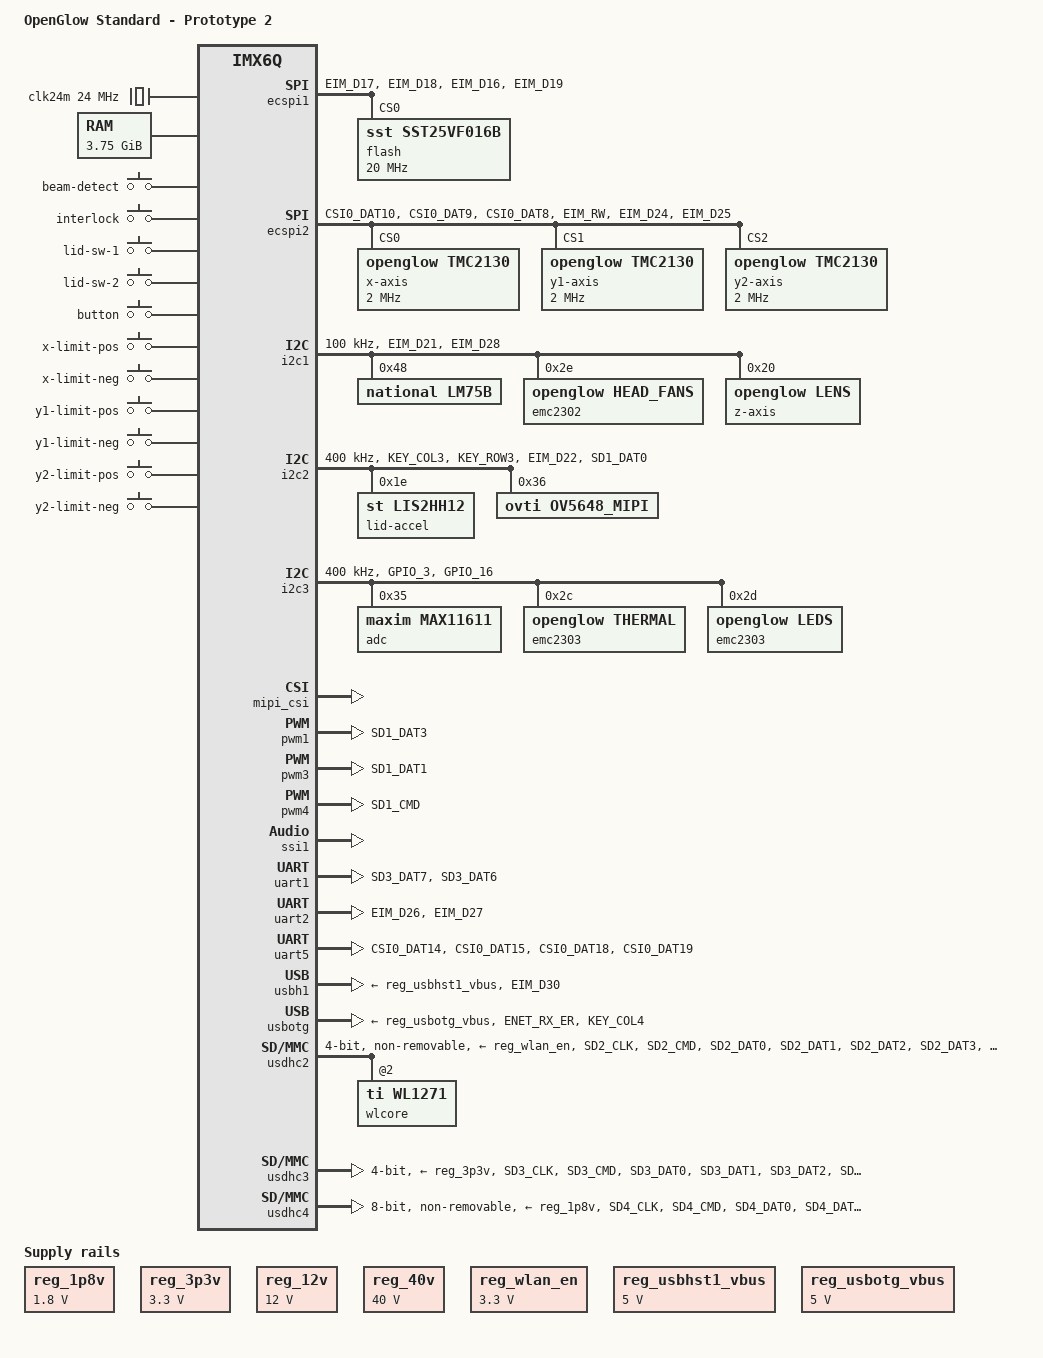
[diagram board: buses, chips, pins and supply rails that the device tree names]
/*
 * Copyright 2018 Scott Wiederhold <s.e.wiederhold@gmail.com>
 * Copyright 2012 Freescale Semiconductor, Inc.
 * Copyright 2011 Linaro Ltd.
 *
 * The code contained herein is licensed under the GNU General Public
 * License. You may obtain a copy of the GNU General Public License
 * Version 2 or later at the following locations:
 *
 * http://www.opensource.org/licenses/gpl-license.html
 * http://www.gnu.org/copyleft/gpl.html
 */

/* PAD Control Definitions
*
* Be sure to check IMX6 DQ Reference Manual to verify each
* PADs actual capability (i.e. GPIO00 - See Ch 36.4.376).
* PAD Operating frequency is dependent on many factors (See Ch 28.4.2.3)
*
* For a better explanation, see Freescale AN5078
* http://cache.freescale.com/files/32bit/doc/app_note/AN5078.pdf
*/
/dts-v1/;

#include <dt-bindings/gpio/gpio.h>
#include <dt-bindings/input/input.h>
#include "imx6q.dtsi"
#include "openglow_common.dtsi"

/ {
	model = "OpenGlow Standard - Prototype 2";
	compatible = "openglow,openglow_std", "fsl,imx6q";
};

&iomuxc {
	pinctrl-names = "default";
	pinctrl-0 = <&pinctrl_hog>;

    openglow_std {
        pinctrl_hog: hog {
            fsl,pins = <
#define TP01_GPIO3_IO20     <&gpio3 20 GPIO_ACTIVE_HIGH>
                MX6QDL_PAD_EIM_D20__GPIO3_IO20     	WEAK_PULLUP
#define TP02_GPIO3_IO05     <&gpio3 5 GPIO_ACTIVE_HIGH>
                MX6QDL_PAD_EIM_DA5__GPIO3_IO05     	WEAK_PULLUP
#define TP03_GPIO3_IO03     <&gpio3 3 GPIO_ACTIVE_HIGH>
                MX6QDL_PAD_EIM_DA3__GPIO3_IO03     	WEAK_PULLUP
#define TP04_GPIO3_IO01     <&gpio3 1 GPIO_ACTIVE_HIGH>
                MX6QDL_PAD_EIM_DA1__GPIO3_IO01     	WEAK_PULLUP
#define TP05_GPIO2_IO25     <&gpio2 25 GPIO_ACTIVE_HIGH>
                MX6QDL_PAD_EIM_OE__GPIO2_IO25      	WEAK_PULLUP
#define TP06_GPIO2_IO04     <&gpio2 4 GPIO_ACTIVE_HIGH>
                MX6QDL_PAD_NANDF_D4__GPIO2_IO04   	WEAK_PULLUP
#define TP07_GPIO3_IO11     <&gpio3 11 GPIO_ACTIVE_HIGH>
                MX6QDL_PAD_EIM_DA11__GPIO3_IO11    	WEAK_PULLUP
#define TP08_GPIO3_IO10     <&gpio3 10 GPIO_ACTIVE_HIGH>
                MX6QDL_PAD_EIM_DA10__GPIO3_IO10    	WEAK_PULLUP
#define TP09_GPIO2_IO07     <&gpio2 7 GPIO_ACTIVE_HIGH>
                MX6QDL_PAD_NANDF_D7__GPIO2_IO07    	WEAK_PULLUP
#define TP10_GPIO3_IO09     <&gpio3 9 GPIO_ACTIVE_HIGH>
                MX6QDL_PAD_EIM_DA9__GPIO3_IO09     	WEAK_PULLUP
#define TP11_GPIO5_IO23     <&gpio5 23 GPIO_ACTIVE_HIGH>
                MX6QDL_PAD_CSI0_DAT5__GPIO5_IO23    WEAK_PULLUP
            >;
        };

        pinctrl_bt_rfkill: bt-rfkillgrp {
            fsl,pins = <
#define BT_EN               <&gpio5 19 GPIO_ACTIVE_LOW>
                MX6QDL_PAD_CSI0_MCLK__GPIO5_IO19    WEAK_PULLUP
            >;
        };

        /* SOM on-board Serial Flash */
        pinctrl_ecspi1: ecspi1grp {
            fsl,pins = <
                MX6QDL_PAD_EIM_D17__ECSPI1_MISO     SPI_PAD_CTRL
                MX6QDL_PAD_EIM_D18__ECSPI1_MOSI     SPI_PAD_CTRL
                MX6QDL_PAD_EIM_D16__ECSPI1_SCLK     SPI_PAD_CTRL
#define ECSPI1_CS           <&gpio3 19 GPIO_ACTIVE_LOW>
                MX6QDL_PAD_EIM_D19__GPIO3_IO19      NO_PAD_CTRL
            >;
        };

        /* Stepper Drivers SPI Bus */
        pinctrl_ecspi2: ecspi2grp {
            fsl,pins = <
                MX6QDL_PAD_CSI0_DAT10__ECSPI2_MISO  SPI_PAD_CTRL
                MX6QDL_PAD_CSI0_DAT9__ECSPI2_MOSI   SPI_PAD_CTRL
                MX6QDL_PAD_CSI0_DAT8__ECSPI2_SCLK   SPI_PAD_CTRL
#define ESPI2_SS0           <&gpio2 26 GPIO_ACTIVE_LOW> /* X-Stepper */
                MX6QDL_PAD_EIM_RW__GPIO2_IO26       WEAK_PULLUP
#define ESPI2_SS2           <&gpio3 24 GPIO_ACTIVE_LOW> /* Y1-Stepper */
                MX6QDL_PAD_EIM_D24__GPIO3_IO24      WEAK_PULLUP
#define ESPI2_SS3           <&gpio3 25 GPIO_ACTIVE_LOW> /* Y2-Stepper */
                MX6QDL_PAD_EIM_D25__GPIO3_IO25      WEAK_PULLUP
            >;
        };

        /* GPIO - Aux I/O */
        pinctrl_gpio_aux: gpio-auxgrp {
            fsl,pins = <
#define AUXIO_7             <&gpio1 9 GPIO_ACTIVE_HIGH>  /* AUX_IO07 */
                MX6QDL_PAD_GPIO_9__GPIO1_IO09  		WEAK_PULLUP
#define AUXIO_8             <&gpio7 13 GPIO_ACTIVE_HIGH>  /* AUX_IO08 */
                MX6QDL_PAD_GPIO_18__GPIO7_IO13  	WEAK_PULLUP
            >;
        };

		/* GPIO - Limit I/O */
        pinctrl_limit_aux: gpio-limitgrp {
            fsl,pins = <
#define AUXIO_1             <&gpio4 11 GPIO_ACTIVE_HIGH> /* AUX_IO01 X-Axis POS Limit */
                MX6QDL_PAD_KEY_ROW2__GPIO4_IO11    	WEAK_PULLUP
#define AUXIO_2             <&gpio3 12 GPIO_ACTIVE_HIGH> /* AUX_IO02 X-Axis NEG Limit */
                MX6QDL_PAD_EIM_DA12__GPIO3_IO12    	WEAK_PULLUP
#define AUXIO_3             <&gpio1 1 GPIO_ACTIVE_HIGH> /* AUX_IO03  Y1-Axis POS Limit */
                MX6QDL_PAD_GPIO_1__GPIO1_IO01      	WEAK_PULLUP
#define AUXIO_4             <&gpio5 24 GPIO_ACTIVE_HIGH> /* AUX_IO04 Y1-Axis NEG Limit */
                MX6QDL_PAD_CSI0_DAT6__GPIO5_IO24   	WEAK_PULLUP
#define AUXIO_5             <&gpio5 25 GPIO_ACTIVE_HIGH> /* AUX_IO05 Y2-Axis POS Limit */
                MX6QDL_PAD_CSI0_DAT7__GPIO5_IO25   	WEAK_PULLUP
#define AUXIO_6             <&gpio5 29 GPIO_ACTIVE_HIGH> /* AUX_IO06 Y2-Axis NEG Limit */
                MX6QDL_PAD_CSI0_DAT11__GPIO5_IO29  	WEAK_PULLUP
            >;
        };
        /* OPENGLOW - CNC */
        pinctrl_cnc: gpio-cncgrp {
            fsl,pins = <
#define BEAM_DET_EN     <&gpio7 0 GPIO_ACTIVE_HIGH>  /* LASER ON HEAD NOTIFICATION - OUT */
                MX6QDL_PAD_SD3_DAT5__GPIO7_IO00     WEAK_PULLUP
#define FIRE            <&gpio7 12 GPIO_ACTIVE_HIGH> /* FIRE LASER - OUT */
                MX6QDL_PAD_GPIO_17__GPIO7_IO12      (WEAK_PULLUP | MUX_MODE_SION)
#define HV_OK           <&gpio2 1 GPIO_ACTIVE_HIGH>  /* HV_OK - IN */
                MX6QDL_PAD_NANDF_D1__GPIO2_IO01     INPUT_HYS
#define HV_WDOG         <&gpio3 0 GPIO_ACTIVE_HIGH>  /* LASER PWR WATCH DOG */
                MX6QDL_PAD_EIM_DA0__GPIO3_IO00      WEAK_PULLUP
#define nSTEP_EN        <&gpio5 30 GPIO_ACTIVE_LOW>  /* XY_STEP_EN - OUT */
                MX6QDL_PAD_CSI0_DAT12__GPIO5_IO30   MED_PULLUP
#define OK_2_FIRE       <&gpio3 29 GPIO_ACTIVE_HIGH> /* OK_2_FIRE - IN */
                MX6QDL_PAD_EIM_D29__GPIO3_IO29      INPUT_HYS
#define X_DIR           <&gpio6 14 GPIO_ACTIVE_HIGH> /* X_DIR - OUT */
                MX6QDL_PAD_NANDF_CS1__GPIO6_IO14    WEAK_PULLUP
#define X_STEP          <&gpio6 15 GPIO_ACTIVE_HIGH> /* X_STEP - OUT */
                MX6QDL_PAD_NANDF_CS2__GPIO6_IO15    WEAK_PULLUP
#define X_DIAG0         <&gpio5 22 GPIO_ACTIVE_HIGH> /* X_DIAG0 - IN */
                MX6QDL_PAD_CSI0_DAT4__GPIO5_IO22    MED_PULLUP
#define X_DIAG1         <&gpio5 21 GPIO_ACTIVE_HIGH> /* X_DIAG1 - IN */
                MX6QDL_PAD_CSI0_VSYNC__GPIO5_IO21   MED_PULLUP
#define Y1_DIR          <&gpio6 2 GPIO_ACTIVE_HIGH>  /* Y1_DIR - OUT */
                MX6QDL_PAD_CSI0_DAT16__GPIO6_IO02   WEAK_PULLUP
#define Y1_STEP         <&gpio6 3 GPIO_ACTIVE_HIGH>  /* Y1_STEP - OUT */
                MX6QDL_PAD_CSI0_DAT17__GPIO6_IO03   WEAK_PULLUP
#define Y1_DIAG0        <&gpio4 5 GPIO_ACTIVE_HIGH>  /* Y1_DIAG0 - IN */
                MX6QDL_PAD_GPIO_19__GPIO4_IO05      MED_PULLUP
#define Y1_DIAG1        <&gpio1 5 GPIO_ACTIVE_HIGH>  /* Y1_DIAG1 - IN */
                MX6QDL_PAD_GPIO_5__GPIO1_IO05       MED_PULLUP
#define Y2_DIR          <&gpio6 7 GPIO_ACTIVE_HIGH>  /* Y2_DIR - OUT */
                MX6QDL_PAD_NANDF_CLE__GPIO6_IO07    WEAK_PULLUP
#define Y2_STEP         <&gpio6 9 GPIO_ACTIVE_HIGH>  /* Y2_STEP - OUT */
                MX6QDL_PAD_NANDF_WP_B__GPIO6_IO09   WEAK_PULLUP
#define Y2_DIAG0        <&gpio5 18 GPIO_ACTIVE_HIGH> /* Y2_DIAG0 - IN */
                MX6QDL_PAD_CSI0_PIXCLK__GPIO5_IO18  MED_PULLUP
#define Y2_DIAG1        <&gpio5 31 GPIO_ACTIVE_HIGH> /* Y2_DIAG1 - IN */
                MX6QDL_PAD_CSI0_DAT13__GPIO5_IO31   MED_PULLUP
#define Z_DIR           <&gpio6 16 GPIO_ACTIVE_HIGH> /* Z_DIR - OUT */
                MX6QDL_PAD_NANDF_CS3__GPIO6_IO16    WEAK_PULLUP
#define Z_STEP          <&gpio6 11 GPIO_ACTIVE_HIGH> /* Z_STEP - OUT */
                MX6QDL_PAD_NANDF_CS0__GPIO6_IO11    WEAK_PULLUP
            >;
        };

        /* GPIO - Control Inputs */
        pinctrl_gpio_controlinputs: gpio-controlgrp {
            fsl,pins = <
#define BEAM_DETECT     <&gpio7 1 GPIO_ACTIVE_HIGH>  /* BEAM DETECT from HEAD */
                MX6QDL_PAD_SD3_DAT4__GPIO7_IO01    INPUT_HYS
#define INTERLOCK       <&gpio3 7 GPIO_ACTIVE_HIGH>  /* INTERLOCK - IN */
                MX6QDL_PAD_EIM_DA7__GPIO3_IO07     INPUT_HYS
#define LID_SW1         <&gpio3 4 GPIO_ACTIVE_HIGH>  /* LID_SW1 - IN */
                MX6QDL_PAD_EIM_DA4__GPIO3_IO04     INPUT_HYS
#define LID_SW2         <&gpio3 31 GPIO_ACTIVE_HIGH> /* LID_SW2 - IN */
                MX6QDL_PAD_EIM_D31__GPIO3_IO31     INPUT_HYS
#define nBUTTON         <&gpio3 8 GPIO_ACTIVE_LOW>  /* BUTTON - IN */
                MX6QDL_PAD_EIM_DA8__GPIO3_IO08     INPUT_HYS
            >;
        };

        /* GPIO - Power 12 V*/
        pinctrl_gpio_power_12v: gpio-power12vgrp {
            fsl,pins = <
#define PWR_12VDC_EN        <&gpio2 2 GPIO_ACTIVE_HIGH> /* 12VDC_EN - OUT */
                MX6QDL_PAD_NANDF_D2__GPIO2_IO02   	MED_PULLUP
#define PWR_12VDC_OK        <&gpio2 3 GPIO_ACTIVE_HIGH> /* 12VDC_OK - IN */
                MX6QDL_PAD_NANDF_D3__GPIO2_IO03   	INPUT_HYS
            >;
        };

        /* GPIO - Power 40 V */
        pinctrl_gpio_power_40v: gpio-power40vgrp {
            fsl,pins = <
#define PWR_40VDC_EN        <&gpio3 2 GPIO_ACTIVE_HIGH> /* 40VDC_EN - OUT */
                MX6QDL_PAD_EIM_DA2__GPIO3_IO02  	MED_PULLUP
#define PWR_40VDC_OK        <&gpio2 6 GPIO_ACTIVE_HIGH> /* 40VDC_OK - IN */
                MX6QDL_PAD_NANDF_D6__GPIO2_IO06  	INPUT_HYS
            >;
        };

        /* GPIO - Thermal */
        pinctrl_gpio_thermal: gpio-thermalgrp {
            fsl,pins = <
#define TEC_EN  <&gpio2 23 GPIO_ACTIVE_HIGH> /* TEC_EN - OUT */
                MX6QDL_PAD_EIM_CS0__GPIO2_IO23     (MED_PULLUP  | MUX_MODE_SION)
#define WATER_PUMP_EN   <&gpio3 23 GPIO_ACTIVE_HIGH> /* WTR_PMP_EN - OUT */
                MX6QDL_PAD_EIM_D23__GPIO3_IO23     (MED_PULLUP  | MUX_MODE_SION)
            >;
        };

        /* Interconnect I2C Bus */
        pinctrl_i2c1: i2c1grp {
            fsl,pins = <
                MX6QDL_PAD_EIM_D21__I2C1_SCL      I2C_PAD_CTRL
                MX6QDL_PAD_EIM_D28__I2C1_SDA      I2C_PAD_CTRL
            >;
        };

        /* Lid I2C Bus */
        pinctrl_i2c2: i2c2grp {
            fsl,pins = <
                MX6QDL_PAD_KEY_COL3__I2C2_SCL      I2C_PAD_CTRL
                MX6QDL_PAD_KEY_ROW3__I2C2_SDA      I2C_PAD_CTRL
#define CSI_SEL    <&gpio3 22 GPIO_ACTIVE_LOW> /* CAM_SEL */
                MX6QDL_PAD_EIM_D22__GPIO3_IO22     WEAK_PULLUP
#define CSI_OE     <&gpio1 16 GPIO_ACTIVE_HIGH> /* CSI SWITCH OUTPUT ENABLE - OUT */
                MX6QDL_PAD_SD1_DAT0__GPIO1_IO16    WEAK_PULLUP
            >;
        };

        /* Control I2C Bus */
        pinctrl_i2c3: i2c3grp {
            fsl,pins = <
                MX6QDL_PAD_GPIO_3__I2C3_SCL   	I2C_PAD_CTRL
                MX6QDL_PAD_GPIO_16__I2C3_SDA  	I2C_PAD_CTRL
            >;
        };

        /* PWM1_LASER */
        pinctrl_pwm1: pwm1grp {
            fsl,pins = <
                MX6QDL_PAD_SD1_DAT3__PWM1_OUT 	PWM_PAD_CTRL
            >;
        };

        /* PWM3_WATER_HTR */
        pinctrl_pwm3: pwm3grp {
            fsl,pins = <
                MX6QDL_PAD_SD1_DAT1__PWM3_OUT	PWM_PAD_CTRL
            >;
        };

        /* PWM4_LID_LED */
        pinctrl_pwm4: pwm4grp {
            fsl,pins = <
                MX6QDL_PAD_SD1_CMD__PWM4_OUT	PWM_PAD_CTRL
            >;
        };

        /* UART1 - USB Console TTYMXC0 */
        pinctrl_uart1: uart1grp {
            fsl,pins = <
                MX6QDL_PAD_SD3_DAT7__UART1_TX_DATA	UART_PAD_CTRL
                MX6QDL_PAD_SD3_DAT6__UART1_RX_DATA  UART_PAD_CTRL
            >;
        };

        /* UART2 - Filter TTYMXC1 */
        pinctrl_uart2: uart2grp {
            fsl,pins = <
                MX6QDL_PAD_EIM_D26__UART2_TX_DATA  UART_PAD_CTRL
                MX6QDL_PAD_EIM_D27__UART2_RX_DATA  UART_PAD_CTRL
            >;
        };

        /* UART5 - Bluetooth TTYMXC4*/
        pinctrl_uart5: uart5grp {
            fsl,pins = <
                MX6QDL_PAD_CSI0_DAT14__UART5_TX_DATA	UART_PAD_CTRL
                MX6QDL_PAD_CSI0_DAT15__UART5_RX_DATA	UART_PAD_CTRL
                MX6QDL_PAD_CSI0_DAT18__UART5_RTS_B  	UART_PAD_CTRL
                MX6QDL_PAD_CSI0_DAT19__UART5_CTS_B   	UART_PAD_CTRL
            >;
        };

        /* USB HOST 1 */
        pinctrl_usbhst1: usbhst1grp {
        	fsl,pins = <
        		MX6QDL_PAD_EIM_D30__USB_H1_OC		WEAK_PULLUP /* USB_HOST_OC */
        	>;
        };
        pinctrl_reg_usbhst1_vbus: reg-usbhst1-vbusgrp {
        	fsl,pins = <
#define USB_HOST_PWR_EN	<&gpio4 10 GPIO_ACTIVE_HIGH>
        		MX6QDL_PAD_KEY_COL2__GPIO4_IO10		WEAK_PULLDOWN
        	>;
        };
        /* USB OTG */
        pinctrl_usbotg: usbotggrp {
        	fsl,pins = <
        		MX6QDL_PAD_ENET_RX_ER__USB_OTG_ID	USB_OTG_PAD_CTRL
        		MX6QDL_PAD_KEY_COL4__USB_OTG_OC		WEAK_PULLUP
        	>;
        };
        pinctrl_reg_usbotg_vbus: reg-usbotg-vbusgrp {
        	fsl,pins = <
#define USB_OTG_PWR_EN	<&gpio1 0 GPIO_ACTIVE_HIGH>
        		MX6QDL_PAD_GPIO_0__GPIO1_IO00		WEAK_PULLDOWN
        	>;
        };

        /* uSDHC2 - Wireless module */
        pinctrl_usdhc2: usdhc2grp {
            fsl,pins = <
                MX6QDL_PAD_SD2_CLK__SD2_CLK         	USDHC_PAD_CTRL
                MX6QDL_PAD_SD2_CMD__SD2_CMD         	USDHC_PAD_CTRL
                MX6QDL_PAD_SD2_DAT0__SD2_DATA0      	USDHC_PAD_CTRL
                MX6QDL_PAD_SD2_DAT1__SD2_DATA1      	USDHC_PAD_CTRL
                MX6QDL_PAD_SD2_DAT2__SD2_DATA2      	USDHC_PAD_CTRL
                MX6QDL_PAD_SD2_DAT3__SD2_DATA3      	USDHC_PAD_CTRL
                MX6QDL_PAD_SD1_CLK__OSC32K_32K_OUT 		USDHC_PAD_CTRL
#define WLAN_IRQ        <&gpio5 20 IRQ_TYPE_LEVEL_HIGH>
                MX6QDL_PAD_CSI0_DATA_EN__GPIO5_IO20		WEAK_PULLDOWN
            >;
        };

        pinctrl_usdhc2_100mhz: usdhc2grp-100mhz {
            fsl,pins = <
                MX6QDL_PAD_SD2_CMD__SD2_CMD         USDHC_PAD_CTRL
                MX6QDL_PAD_SD2_CLK__SD2_CLK         USDHC_PAD_CTRL
                MX6QDL_PAD_SD2_DAT0__SD2_DATA0      USDHC_PAD_CTRL
                MX6QDL_PAD_SD2_DAT1__SD2_DATA1      USDHC_PAD_CTRL
                MX6QDL_PAD_SD2_DAT2__SD2_DATA2      USDHC_PAD_CTRL
                MX6QDL_PAD_SD2_DAT3__SD2_DATA3      USDHC_PAD_CTRL
            >;
        };

        pinctrl_usdhc2_200mhz: usdhc2grp-200mhz {
            fsl,pins = <
                MX6QDL_PAD_SD2_CMD__SD2_CMD         USDHC_PAD_CTRL
                MX6QDL_PAD_SD2_CLK__SD2_CLK         USDHC_PAD_CTRL
                MX6QDL_PAD_SD2_DAT0__SD2_DATA0     	USDHC_PAD_CTRL
                MX6QDL_PAD_SD2_DAT1__SD2_DATA1      USDHC_PAD_CTRL
                MX6QDL_PAD_SD2_DAT2__SD2_DATA2      USDHC_PAD_CTRL
                MX6QDL_PAD_SD2_DAT3__SD2_DATA3      USDHC_PAD_CTRL
            >;
        };

        /* uSDHC3 - /dev/mmcblk0 - SD Card Slot */
        pinctrl_usdhc3: usdhc3grp {
            fsl,pins = <
                MX6QDL_PAD_SD3_CLK__SD3_CLK         USDHC_PAD_CTRL
                MX6QDL_PAD_SD3_CMD__SD3_CMD         USDHC_PAD_CTRL
                MX6QDL_PAD_SD3_DAT0__SD3_DATA0      USDHC_PAD_CTRL
                MX6QDL_PAD_SD3_DAT1__SD3_DATA1      USDHC_PAD_CTRL
                MX6QDL_PAD_SD3_DAT2__SD3_DATA2      USDHC_PAD_CTRL
                MX6QDL_PAD_SD3_DAT3__SD3_DATA3     	USDHC_PAD_CTRL
#define SD3_CD      <&gpio3 6 GPIO_ACTIVE_LOW>
                MX6QDL_PAD_EIM_DA6__GPIO3_IO06     	WEAK_PULLUP
            >;
        };

        /* uSDHC4 - /dev/mmcblk1 - SOM on-board MMC */
        pinctrl_usdhc4: usdhc4grp {
            fsl,pins = <
                MX6QDL_PAD_SD4_CLK__SD4_CLK         USDHC_PAD_CTRL
                MX6QDL_PAD_SD4_CMD__SD4_CMD         USDHC_PAD_CTRL
                MX6QDL_PAD_SD4_DAT0__SD4_DATA0      USDHC_PAD_CTRL
                MX6QDL_PAD_SD4_DAT1__SD4_DATA1      USDHC_PAD_CTRL
                MX6QDL_PAD_SD4_DAT2__SD4_DATA2      USDHC_PAD_CTRL
                MX6QDL_PAD_SD4_DAT3__SD4_DATA3      USDHC_PAD_CTRL
                MX6QDL_PAD_SD4_DAT4__SD4_DATA4      USDHC_PAD_CTRL
                MX6QDL_PAD_SD4_DAT5__SD4_DATA5      USDHC_PAD_CTRL
                MX6QDL_PAD_SD4_DAT6__SD4_DATA6      USDHC_PAD_CTRL
                MX6QDL_PAD_SD4_DAT7__SD4_DATA7      USDHC_PAD_CTRL
#define SD4_RESET   <&gpio2 0 GPIO_ACTIVE_LOW>
                MX6QDL_PAD_NANDF_D0__GPIO2_IO00     WEAK_PULLUP /* RESET */
            >;
        };

        /* WL_EN */
        pinctrl_reg_wlan_en: reg-wlan-engrp {
            fsl,pins = <
#define WL_EN       <&gpio1 2 GPIO_ACTIVE_HIGH>
                MX6QDL_PAD_GPIO_2__GPIO1_IO02		WEAK_PULLDOWN
            >;
        };
    };
};

/ {
	aliases {
		mmc0 = &usdhc3;
		mmc1 = &usdhc4;
		mmc2 = &usdhc2;
	};

    bt_rfkill {
		compatible = "net,rfkill-gpio";
		pinctrl-names = "default";
		pinctrl-0 = <&pinctrl_bt_rfkill>;
		name = "bt_rfkill";
		type = <2>;	/* bluetooth */
		reset-gpios = BT_EN;
	};

	clocks {
		clk24m: clk24m {
			compatible = "fixed-clock";
			#clock-cells = <0>;
			clock-frequency = <24000000>;
		};
	};

	memory {
		reg = <0x10000000 0xeffffc00>;
	};

    openglow-aux {
        compatible = "openglow,aux";
        pinctrl-names = "default";
        pinctrl-0 = <&pinctrl_gpio_aux>;
        aux07-gpio = AUXIO_7;
        aux08-gpio = AUXIO_8;
    };

    openglow-cnc {
        compatible = "openglow,cnc";
        pinctrl-names = "default";
        pinctrl-0 = <&pinctrl_cnc>;
        xy-enable-gpio       = nSTEP_EN;
        x-step-gpio          = X_STEP;
        x-dir-gpio           = X_DIR;
        x-diag0-gpio         = X_DIAG0;
        x-diag1-gpio         = X_DIAG1;
        y1-step-gpio         = Y1_STEP;
        y1-dir-gpio          = Y1_DIR;
        y1-diag0-gpio        = Y1_DIAG0;
        y1-diag1-gpio        = Y1_DIAG1;
        y2-step-gpio         = Y2_STEP;
        y2-dir-gpio          = Y2_DIR;
        y2-diag0-gpio        = Y2_DIAG0;
        y2-diag1-gpio        = Y2_DIAG1;
        z-step-gpio          = Z_STEP;
        z-dir-gpio           = Z_DIR;
        hv-supply-ok-gpio    = HV_OK;
        safe-to-fire-gpio    = OK_2_FIRE;
        laser-fire-gpio      = FIRE;
        beam-det-enable-gpio = BEAM_DET_EN;
        hv-wdog-gpio         = HV_WDOG;
        laser-pwm            = <0>;
        timer                = <&epit1>;
        sdma-params          = <26 0xe00>; /* SDMA Channel, Script Offset */
    };

    openglow-control {
        compatible = "gpio-keys";
        pinctrl-names = "default";
        pinctrl-0 = <&pinctrl_gpio_controlinputs>;
        beam_detect {
            label = "beam-detect";
            gpios = BEAM_DETECT;
            debounce-interval = <60>;
            linux,code = <0>;
            linux,input-type = <EV_SW>;
        };
        interlock {
            label = "interlock";
            gpios = INTERLOCK;
            debounce-interval = <5>;
            linux,code = <1>;
            linux,input-type = <EV_SW>;
        };
        lid_sw_1 {
            label = "lid-sw-1";
            gpios = LID_SW1;
            debounce-interval = <5>;
            linux,code = <2>;
            linux,input-type = <EV_SW>;
        };
        lid_sw_2 {
            label = "lid-sw-2";
            gpios = LID_SW2;
            debounce-interval = <5>;
            linux,code = <3>;
            linux,input-type = <EV_SW>;
        };
        button {
            label = "button";
            gpios = nBUTTON;
            debounce-interval = <20>;
            linux,code = <7>;
            linux,input-type = <EV_SW>;
        };
    };

	openglow-hog {
		compatible = "openglow,hog";
		pinctrl-names = "default";
		pinctrl-0 = <&pinctrl_hog>;
    };

	openglow-limit {
        compatible = "gpio-keys";
        pinctrl-names = "default";
        pinctrl-0 = <&pinctrl_limit_aux>;
		x_limit_pos {
            label = "x-limit-pos";
            gpios = AUXIO_1;
            debounce-interval = <60>;
            linux,code = <1>;
            linux,input-type = <EV_SW>;
        };
		x_limit_neg {
            label = "x-limit-neg";
            gpios = AUXIO_2;
            debounce-interval = <60>;
            linux,code = <2>;
            linux,input-type = <EV_SW>;
        };
		y1_limit_pos {
            label = "y1-limit-pos";
            gpios = AUXIO_3;
            debounce-interval = <60>;
            linux,code = <3>;
            linux,input-type = <EV_SW>;
        };
		y1_limit_neg {
            label = "y1-limit-neg";
            gpios = AUXIO_4;
            debounce-interval = <60>;
            linux,code = <4>;
            linux,input-type = <EV_SW>;
        };
		y2_limit_pos {
            label = "y2-limit-pos";
            gpios = AUXIO_5;
            debounce-interval = <60>;
            linux,code = <5>;
            linux,input-type = <EV_SW>;
        };
		y2_limit_neg {
            label = "y2-limit-neg";
            gpios = AUXIO_6;
            debounce-interval = <60>;
            linux,code = <6>;
            linux,input-type = <EV_SW>;
        };
    };

    regulators {
		compatible = "simple-bus";
		#address-cells = <1>;
		#size-cells = <0>;

		reg_1p8v: regulator@0 {
			compatible = "regulator-fixed";
			reg = <0>;
			regulator-name = "1P8V";
			regulator-min-microvolt = <1800000>;
			regulator-max-microvolt = <1800000>;
			regulator-always-on;
		};

		reg_3p3v: regulator@2 {
			compatible = "regulator-fixed";
			reg = <2>;
			regulator-name = "3P3V";
			regulator-min-microvolt = <3300000>;
			regulator-max-microvolt = <3300000>;
			regulator-always-on;
		};

		reg_12v: 12v {
            compatible = "regulator-fixed";
            reg = <3>;
            pinctrl-names = "default";
            pinctrl-0 = <&pinctrl_gpio_power_12v>;
            regulator-name = "12v";
            regulator-min-microvolt = <12000000>;
            regulator-max-microvolt = <12000000>;
			regulator-always-on;
		};

        reg_40v: 40v {
            compatible = "regulator-fixed";
            reg = <4>;
            pinctrl-names = "default";
            pinctrl-0 = <&pinctrl_gpio_power_40v>;
            gpio = PWR_40VDC_EN;
            regulator-name = "40v";
            regulator-min-microvolt = <40000000>;
            regulator-max-microvolt = <40000000>;
            enable-active-high;
		};

        reg_wlan_en: regulator@5 {
			compatible = "regulator-fixed";
			reg = <5>;
			pinctrl-names = "default";
			pinctrl-0 = <&pinctrl_reg_wlan_en>;
			regulator-name = "wlan-en";
			regulator-min-microvolt = <3300000>;
			regulator-max-microvolt = <3300000>;
			gpio = WL_EN;
			startup-delay-us = <70000>;
			enable-active-high;
		};

		reg_usbhst1_vbus: regulator@6 {
			compatible = "regulator-fixed";
			reg = <6>;
			pinctrl-names = "default";
			pinctrl-0 = <&pinctrl_reg_usbhst1_vbus>;
			regulator-name = "usb_host_vbus";
			regulator-min-microvolt = <5000000>;
			regulator-max-microvolt = <5000000>;
			gpio = USB_HOST_PWR_EN;
			enable-active-high;
		};

		reg_usbotg_vbus: regulator@7 {
			compatible = "regulator-fixed";
			reg = <7>;
			pinctrl-names = "default";
			pinctrl-0 = <&pinctrl_reg_usbotg_vbus>;
			regulator-name = "usb_otg_vbus";
			regulator-min-microvolt = <5000000>;
			regulator-max-microvolt = <5000000>;
			gpio = USB_OTG_PWR_EN;
			enable-active-high;
		};


	};

	v4l2_cap_0 {
		compatible = "fsl,imx6q-v4l2-capture";
		ipu_id = <0>;
		csi_id = <1>;
		mclk_source = <0>;
		mipi_camera = <1>;
		default_input = <1>;
		status = "okay";
	};

	v4l2_out {
		compatible = "fsl,mxc_v4l2_output";
		status = "okay";
	};
};

&ecspi1 {
	pinctrl-names = "default";
	pinctrl-0 = <&pinctrl_ecspi1>;
	fsl,spi-num-chipselects = <1>;
	cs-gpios = ECSPI1_CS;
	status = "okay";

	flash: m25p80@0 {
		compatible = "sst,sst25vf016b";
		spi-max-frequency = <20000000>;
		reg = <0>;
		#address-cells = <1>;
		#size-cells = <1>;
		mtd@00000000 {
			label = "U-Boot";
			reg = <0x0 0xC0000>;
		};

		mtd@000C0000 {
			label = "env";
			reg = <0xC0000 0x2000>;
		};
		mtd@000C2000 {
			label = "splash";
			reg = <0xC2000 0x13e000>;
		};
	};
};

&ecspi2 {
	pinctrl-names = "default";
	pinctrl-0 = <&pinctrl_ecspi2>;
	fsl,spi-num-chipselects = <3>;
	cs-gpios = ESPI2_SS0, ESPI2_SS2, ESPI2_SS3;
	status = "okay";

	x-axis@0 {
		compatible = "openglow,tmc2130";
		spi-max-frequency = <2000000>;
        spi-cpha=<1>;
        spi-cpol=<1>;
        reg = <0>;
	};
	y1-axis@1 {
		compatible = "openglow,tmc2130";
		spi-max-frequency = <2000000>;
        spi-cpha=<1>;
        spi-cpol=<1>;
		reg = <1>;
	};
	y2-axis@2 {
		compatible = "openglow,tmc2130";
		spi-max-frequency = <2000000>;
        spi-cpha=<1>;
        spi-cpol=<1>;
		reg = <2>;
	};
};

&epit1 {
    compatible = "fsl,imx6qdl-epit";
    id = <0>;
    clocks = <&clks IMX6QDL_CLK_EPIT1>;
    clock-names = "epit1";
    sdma-event = <16>;
};

/* Interconnect */
&i2c1 {
	clock-frequency = <100000>;
	pinctrl-names = "default";
	pinctrl-0 = <&pinctrl_i2c1>;
	status = "okay";

    /* INTERCONNECT TEMP SENSOR */
    lm75b@48 {
        reg = <0x48>;
        compatible = "national,lm75b";
    };

    /* HEAD FAN Controller */
    emc2302@2E {
	    compatible = "openglow,head_fans";
	    reg = <0x2E>;
	    #address-cells = <1>;
	    #size-cells = <0>;
        air-assist-fan  = <0>;
        lens-purge-fan  = <1>;
    };

    /* HEAD LENS Step Driver */
    z-axis@20 {
	    compatible = "openglow,lens";
	    reg = <0x20>;
	    #address-cells = <1>;
	    #size-cells = <0>;
        enable-gpio   = <0>;
        decay-gpio    = <1>;
        fault-gpio    = <2>;
        reset-gpio    = <3>;
        home-gpio     = <4>;
        mode-2-gpio   = <5>;
        mode-1-gpio   = <6>;
        mode-0-gpio   = <7>;
    };
};

/* LID */
&i2c2 {
	clock-frequency = <400000>;
	pinctrl-names = "default";
	pinctrl-0 = <&pinctrl_i2c2>;
	status = "okay";

    /* LID ACCELEROMETER */
    lid-accel@1e {
        reg = <0x1e>;
        compatible = "st,lis2hh12";
    };

    /* LID CAMERA */
    ov5648_mipi@36 {
		compatible = "ovti,ov5648_mipi";
		reg = <0x36>;
		clocks = <&clks 0>;
		clock-names = "csi_mclk";
		sel-gpios = CSI_SEL;
		oe-gpios = CSI_OE;
		default-state = "off"; /* off=camera A, on=camera B */
		ipu_id = <0>;
		csi_id = <1>;
		mclk = <25000000>;
		mclk_source = <0>;
		pinctrl-names = "default";
		extended-buffer;
	};
};

/* Control */
&i2c3 {
	clock-frequency = <400000>;
	pinctrl-names = "default";
	pinctrl-0 = <&pinctrl_i2c3>;
	status = "okay";

    /* CONTROL ADC */
    adc: max11611@35 {
    	compatible = "maxim,max11611";
    	reg = <0x35>;
    };

    /* Fan Controller */
    emc2303@2C {
	    compatible = "openglow,thermal";
	    reg = <0x2C>;
	    #address-cells = <1>;
	    #size-cells = <0>;
        tec-gpio          = TEC_EN;
        water-pump-gpio   = WATER_PUMP_EN;
        water-heater-pwm  = <1>;
        exhaust-fan       = <0>;
        intake-fan-1      = <1>;
        intake-fan-2      = <2>;
    };

    /* LED Controller */
    emc2303@2D {
	    compatible = "openglow,leds";
	    reg = <0x2D>;
	    #address-cells = <1>;
	    #size-cells = <0>;
        lid-led-pwm      = <2>;
        button-red-led  = <0>;
        button-green-led = <1>;
        button-blue-led   = <2>;
    };
};

&mipi_csi {
    ipu_id = <0>;
    csi_id = <1>;
    v_channel = <1>;
    lanes = <2>;
    mipi_dphy_clk = <0x28>;
    status = "okay";
};

&pwm1 {
	pinctrl-names = "default";
	pinctrl-0 = <&pinctrl_pwm1>;
	status = "okay";
	fsl,extra-prescale = <13>;
};

&pwm3 {
	pinctrl-names = "default";
	pinctrl-0 = <&pinctrl_pwm3>;
	status = "okay";
};

&pwm4 {
	pinctrl-names = "default";
	pinctrl-0 = <&pinctrl_pwm4>;
	status = "okay";
};

&ssi1 {
	fsl,mode = "i2s-slave";
	status = "okay";
};

&uart1 {
	pinctrl-names = "default";
	pinctrl-0 = <&pinctrl_uart1>;
	status = "okay";
};

&uart2 {
	pinctrl-names = "default";
	pinctrl-0 = <&pinctrl_uart2>;
	status = "okay";
};

&uart5 {
	pinctrl-names = "default";
	pinctrl-0 = <&pinctrl_uart5>;
    uart-has-rtscts;
	status = "okay";
};

&usbh1 {
	vbus-supply = <&reg_usbhst1_vbus>;
	pinctrl-names = "default";
	pinctrl-0 = <&pinctrl_usbhst1>;
	status = "okay";
};

&usbotg {
	vbus-supply = <&reg_usbotg_vbus>;
	pinctrl-names = "default";
	pinctrl-0 = <&pinctrl_usbotg>;
	status = "okay";
};

&usdhc2 {	/* uSDHC2, TiWi wl1271 */
	pinctrl-names = "default", "state_100mhz", "state_200mhz";
	pinctrl-0 = <&pinctrl_usdhc2>;
	pinctrl-1 = <&pinctrl_usdhc2_100mhz>;
	pinctrl-2 = <&pinctrl_usdhc2_200mhz>;
	bus-width = <4>;
	non-removable;
	vmmc-supply = <&reg_wlan_en>;
	vqmmc-1-8-v;
	cap-power-off-card;
	keep-power-in-suspend;
	status = "okay";

	#address-cells = <1>;
	#size-cells = <0>;
	wlcore: wlcore@2 {
		compatible = "ti,wl1271";
		interrupts-extended = WLAN_IRQ;
		reg = <2>;
		ref-clock-frequency = <38400000>;
	};
};

&usdhc3 {
	pinctrl-names = "default";
	pinctrl-0 = <&pinctrl_usdhc3>;
	bus-width = <4>;
	cd-gpios = SD3_CD;
	vmmc-supply = <&reg_3p3v>;
	status = "okay";
};

&usdhc4 {
	pinctrl-names = "default";
	pinctrl-0 = <&pinctrl_usdhc4>;
	bus-width = <8>;
	non-removable;
	vqmmc-1-8-v;
	vmmc-supply = <&reg_1p8v>;
	keep-power-in-suspend;
	status = "okay";
};
